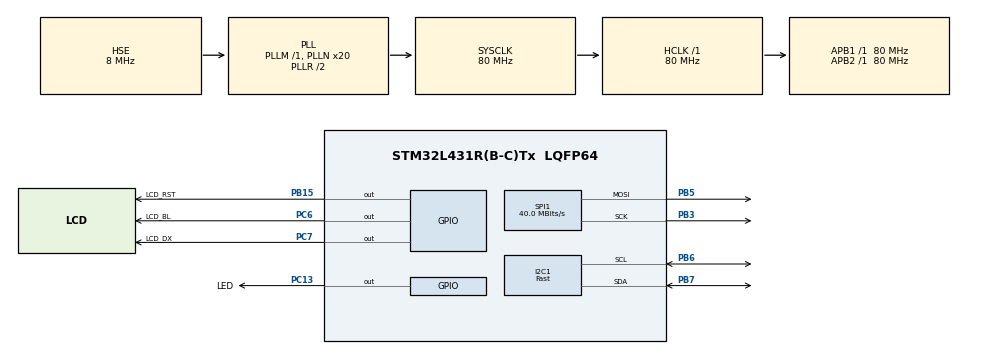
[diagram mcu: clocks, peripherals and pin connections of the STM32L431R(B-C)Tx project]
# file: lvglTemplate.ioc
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Dma.Request0=SPI1_TX
Dma.SPI1_TX.0.Direction=DMA_MEMORY_TO_PERIPH
Dma.SPI1_TX.0.Instance=DMA1_Channel3
Dma.SPI1_TX.0.MemDataAlignment=DMA_MDATAALIGN_BYTE
Dma.SPI1_TX.0.MemInc=DMA_MINC_ENABLE
Dma.SPI1_TX.0.Mode=DMA_NORMAL
Dma.SPI1_TX.0.PeriphDataAlignment=DMA_PDATAALIGN_BYTE
Dma.SPI1_TX.0.PeriphInc=DMA_PINC_DISABLE
Dma.SPI1_TX.0.Priority=DMA_PRIORITY_LOW
I2C1.I2C_Speed_Mode=I2C_Fast
I2C1.Timing=0x00702991
Mcu.Family=STM32L4
Mcu.Name=STM32L431R(B-C)Tx
Mcu.Package=LQFP64
NVIC.DMA1_Channel3_IRQn=true\:0\:0\:false\:false\:true\:false\:true\:true
NVIC.PriorityGroup=NVIC_PRIORITYGROUP_4
NVIC.SPI1_IRQn=true\:0\:0\:false\:false\:true\:true\:true\:true
NVIC.TIM6_DAC_IRQn=true\:1\:0\:true\:false\:true\:true\:true\:true
PA13\ (JTMS-SWDIO).Mode=Serial_Wire
PA13\ (JTMS-SWDIO).Signal=SYS_JTMS-SWDIO
PA14\ (JTCK-SWCLK).Mode=Serial_Wire
PA14\ (JTCK-SWCLK).Signal=SYS_JTCK-SWCLK
PB15.GPIO_Label=LCD_RST
PB15.GPIO_PuPd=GPIO_PULLUP
PB15.Signal=GPIO_Output
PB3\ (JTDO-TRACESWO).Mode=TX_Only_Simplex_Unidirect_Master
PB3\ (JTDO-TRACESWO).Signal=SPI1_SCK
PB5.Mode=TX_Only_Simplex_Unidirect_Master
PB5.Signal=SPI1_MOSI
PB6.Mode=I2C
PB6.Signal=I2C1_SCL
PB7.Mode=I2C
PB7.Signal=I2C1_SDA
PC13.GPIO_Label=LED
PC13.Signal=GPIO_Output
PC6.GPIO_Label=LCD_BL
PC6.GPIO_PuPd=GPIO_PULLUP
PC6.Signal=GPIO_Output
PC7.GPIO_Label=LCD_DX
PC7.GPIO_PuPd=GPIO_PULLUP
PC7.GPIO_Speed=GPIO_SPEED_FREQ_VERY_HIGH
PC7.Signal=GPIO_Output
PH0-OSC_IN\ (PH0).Mode=HSE-External-Oscillator
PH0-OSC_IN\ (PH0).Signal=RCC_OSC_IN
PH1-OSC_OUT\ (PH1).Mode=HSE-External-Oscillator
PH1-OSC_OUT\ (PH1).Signal=RCC_OSC_OUT
ProjectManager.HeapSize=0x200
ProjectManager.StackSize=0x1000
ProjectManager.TargetToolchain=MDK-ARM V5.32
RCC.ADCFreq_Value=32000000
RCC.AHBFreq_Value=80000000
RCC.APB1Freq_Value=80000000
RCC.APB1TimFreq_Value=80000000
RCC.APB2Freq_Value=80000000
RCC.APB2TimFreq_Value=80000000
RCC.CortexFreq_Value=80000000
RCC.HCLKFreq_Value=80000000
RCC.HSE_VALUE=8000000
RCC.HSI48_VALUE=48000000
RCC.HSI_VALUE=16000000
RCC.LSE_VALUE=32768
RCC.MSI_VALUE=4000000
RCC.PLLN=20
RCC.PLLSourceVirtual=RCC_PLLSOURCE_HSE
RCC.SYSCLKFreq_VALUE=80000000
RCC.SYSCLKSource=RCC_SYSCLKSOURCE_PLLCLK
RCC.VCOOutputFreq_Value=160000000
SPI1.CLKPhase=SPI_PHASE_2EDGE
SPI1.CLKPolarity=SPI_POLARITY_HIGH
SPI1.CalculateBaudRate=40.0 MBits/s
SPI1.DataSize=SPI_DATASIZE_8BIT
SPI1.Direction=SPI_DIRECTION_2LINES
SPI1.Mode=SPI_MODE_MASTER
SPI1.VirtualType=VM_MASTER
TIM6.AutoReloadPreload=TIM_AUTORELOAD_PRELOAD_ENABLE
TIM6.Period=1000-1
TIM6.Prescaler=80-1
VP_TIM6_VS_ClockSourceINT.Mode=Enable_Timer
board=custom

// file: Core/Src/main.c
/* USER CODE BEGIN Header */
/**
  ******************************************************************************
  * @file           : main.c
  * @brief          : Main program body
  ******************************************************************************
  * @attention
  *
  * Copyright (c) 2024 STMicroelectronics.
  * All rights reserved.
  *
  * This software is licensed under terms that can be found in the LICENSE file
  * in the root directory of this software component.
  * If no LICENSE file comes with this software, it is provided AS-IS.
  *
  ******************************************************************************
  */
/* USER CODE END Header */
#include "main.h"
#include "dma.h"
#include "i2c.h"
#include "spi.h"
#include "tim.h"
#include "gpio.h"

/* USER CODE BEGIN Includes */
#include "lvgl.h"
#include "lv_port_disp.h"
#include "lv_port_indev.h"
#include "gui.h"

#include "st7789.h"
#include "ns2009.h"
/* USER CODE END Includes */

/* USER CODE BEGIN PV */
uint8_t Flag_lvTimerHandler = 0;
/* USER CODE END PV */

void SystemClock_Config(void);

int main(void)
{

  /* MCU Configuration--------------------------------------------------------*/

  /* Reset of all peripherals, Initializes the Flash interface and the Systick. */
  HAL_Init();

  /* Configure the system clock */
  SystemClock_Config();

  /* Initialize all configured peripherals */
  MX_GPIO_Init();
  MX_DMA_Init();
  MX_SPI1_Init();
  MX_I2C1_Init();
  MX_TIM6_Init();
  /* USER CODE BEGIN 2 */
	bsp_ns2009_init();
	ST7789_Init();

	lv_init();
	lv_port_disp_init();
	lv_port_indev_init();

	HAL_TIM_Base_Start_IT(&htim6); // LVGL����

	GUI_Application();
  /* USER CODE END 2 */

  /* Infinite loop */
  /* USER CODE BEGIN WHILE */
  while (1)
  {
		if(Flag_lvTimerHandler)
		{
			Flag_lvTimerHandler = 0;
			lv_timer_handler();
		}
    /* USER CODE END WHILE */

  }
}

void SystemClock_Config(void)
{
  RCC_OscInitTypeDef RCC_OscInitStruct = {0};
  RCC_ClkInitTypeDef RCC_ClkInitStruct = {0};

  /** Configure the main internal regulator output voltage
  */
  if (HAL_PWREx_ControlVoltageScaling(PWR_REGULATOR_VOLTAGE_SCALE1) != HAL_OK)
  {
    Error_Handler();
  }

  /** Initializes the RCC Oscillators according to the specified parameters
  * in the RCC_OscInitTypeDef structure.
  */
  RCC_OscInitStruct.OscillatorType = RCC_OSCILLATORTYPE_HSE;
  RCC_OscInitStruct.HSEState = RCC_HSE_ON;
  RCC_OscInitStruct.PLL.PLLState = RCC_PLL_ON;
  RCC_OscInitStruct.PLL.PLLSource = RCC_PLLSOURCE_HSE;
  RCC_OscInitStruct.PLL.PLLM = 1;
  RCC_OscInitStruct.PLL.PLLN = 20;
  RCC_OscInitStruct.PLL.PLLP = RCC_PLLP_DIV7;
  RCC_OscInitStruct.PLL.PLLQ = RCC_PLLQ_DIV2;
  RCC_OscInitStruct.PLL.PLLR = RCC_PLLR_DIV2;
  if (HAL_RCC_OscConfig(&RCC_OscInitStruct) != HAL_OK)
  {
    Error_Handler();
  }

  /** Initializes the CPU, AHB and APB buses clocks
  */
  RCC_ClkInitStruct.ClockType = RCC_CLOCKTYPE_HCLK|RCC_CLOCKTYPE_SYSCLK
                              |RCC_CLOCKTYPE_PCLK1|RCC_CLOCKTYPE_PCLK2;
  RCC_ClkInitStruct.SYSCLKSource = RCC_SYSCLKSOURCE_PLLCLK;
  RCC_ClkInitStruct.AHBCLKDivider = RCC_SYSCLK_DIV1;
  RCC_ClkInitStruct.APB1CLKDivider = RCC_HCLK_DIV1;
  RCC_ClkInitStruct.APB2CLKDivider = RCC_HCLK_DIV1;

  if (HAL_RCC_ClockConfig(&RCC_ClkInitStruct, FLASH_LATENCY_4) != HAL_OK)
  {
    Error_Handler();
  }
}

/* USER CODE BEGIN 4 */
void HAL_TIM_PeriodElapsedCallback(TIM_HandleTypeDef *htim)
{
	static uint16_t cnt = 0;

	if(htim->Instance == TIM6){
		lv_tick_inc(1);

		if(cnt++ >= 500)
		{
			HAL_GPIO_TogglePin(LED_GPIO_Port, LED_Pin);
			cnt = 0;
		}
	}
}
/* USER CODE END 4 */

void Error_Handler(void)
{
  __disable_irq();
  while (1)
  {
  }
}
